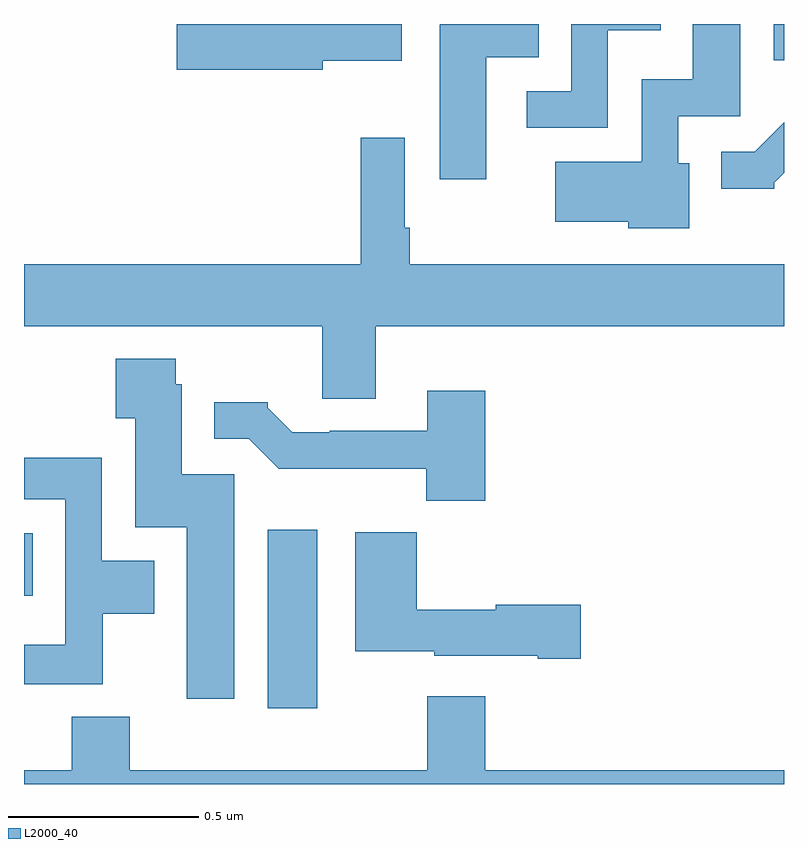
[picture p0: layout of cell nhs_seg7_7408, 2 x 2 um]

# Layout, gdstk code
import gdstk
lib = gdstk.Library(unit=1e-6, precision=1e-09)
def R(c, l, rs):  # rectangles x0, y0, x1, y1
    for r in rs: c.add(gdstk.rectangle(r[:2], r[2:], *l))
def P(c, l, *ps):  # polygons
    for p in ps: c.add(gdstk.Polygon(p, *l))
L2000_40 = (2000, 40)

nhs_seg7_7408 = lib.new_cell('nhs_seg7_7408')
R(nhs_seg7_7408, L2000_40, [(210.641,1078.2,210.772,1078.669), (210,1078.496,210.023,1078.66), (211.973,1079.904,212,1080)])
P(nhs_seg7_7408, L2000_40, [(211.536,1079.984),(211.675,1079.984),(211.675,1080),(211.44,1080),(211.44,1079.823),(211.323,1079.823),(211.323,1079.727),(211.536,1079.727)],
  [(211.216,1079.912),(211.355,1079.912),(211.355,1080),(211.096,1080),(211.094,1079.998),(211.094,1079.592),(211.216,1079.592)],
  [(211.75,1079.634),(211.722,1079.634),(211.722,1079.757),(211.885,1079.757),(211.885,1080),(211.76,1080),(211.76,1079.854),(211.626,1079.854),(211.626,1079.638),(211.398,1079.638),(211.398,1079.48),(211.59,1079.48),(211.59,1079.462),(211.75,1079.462)],
  [(210.786,1079.903),(210.994,1079.903),(210.994,1080),(210.402,1080),(210.402,1079.879),(210.786,1079.879)],
  [(211.974,1079.582),(212,1079.608),(212,1079.741),(211.923,1079.664),(211.835,1079.664),(211.835,1079.567),(211.974,1079.567)],
  [(210.925,1079.204),(212,1079.204),(212,1079.368),(211.015,1079.368),(211.015,1079.464),(211.002,1079.464),(211.002,1079.701),(210.886,1079.701),(210.886,1079.368),(210,1079.368),(210,1079.204),(210.785,1079.204),(210.785,1079.014),(210.925,1079.014)],
  [(210.553,1078.815),(210.415,1078.815),(210.415,1079.052),(210.399,1079.052),(210.399,1079.119),(210.242,1079.119),(210.242,1078.963),(210.293,1078.963),(210.293,1078.676),(210.428,1078.676),(210.428,1078.224),(210.553,1078.224)],
  [(211.214,1079.035),(211.061,1079.035),(211.061,1078.929),(210.805,1078.929),(210.805,1078.926),(210.706,1078.926),(210.642,1078.99),(210.642,1079.005),(210.5,1079.005),(210.5,1078.908),(210.591,1078.908),(210.67,1078.83),(211.059,1078.83),(211.059,1078.745),(211.214,1078.745)],
  [(210.207,1078.448),(210.343,1078.448),(210.343,1078.588),(210.204,1078.588),(210.204,1078.858),(210,1078.858),(210,1078.749),(210.108,1078.749),(210.108,1078.366),(210,1078.366),(210,1078.262),(210.207,1078.262)],
  [(211.465,1078.472),(211.242,1078.472),(211.242,1078.459),(211.034,1078.459),(211.034,1078.663),(210.872,1078.663),(210.872,1078.349),(211.08,1078.349),(211.08,1078.337),(211.352,1078.337),(211.352,1078.33),(211.465,1078.33)],
  [(212,1078.036),(211.214,1078.036),(211.214,1078.231),(211.061,1078.231),(211.061,1078.036),(210.278,1078.036),(210.278,1078.177),(210.125,1078.177),(210.125,1078.036),(210,1078.036),(210,1078),(212,1078)])

lib.write_gds('nhs_seg7_7408.gds')
